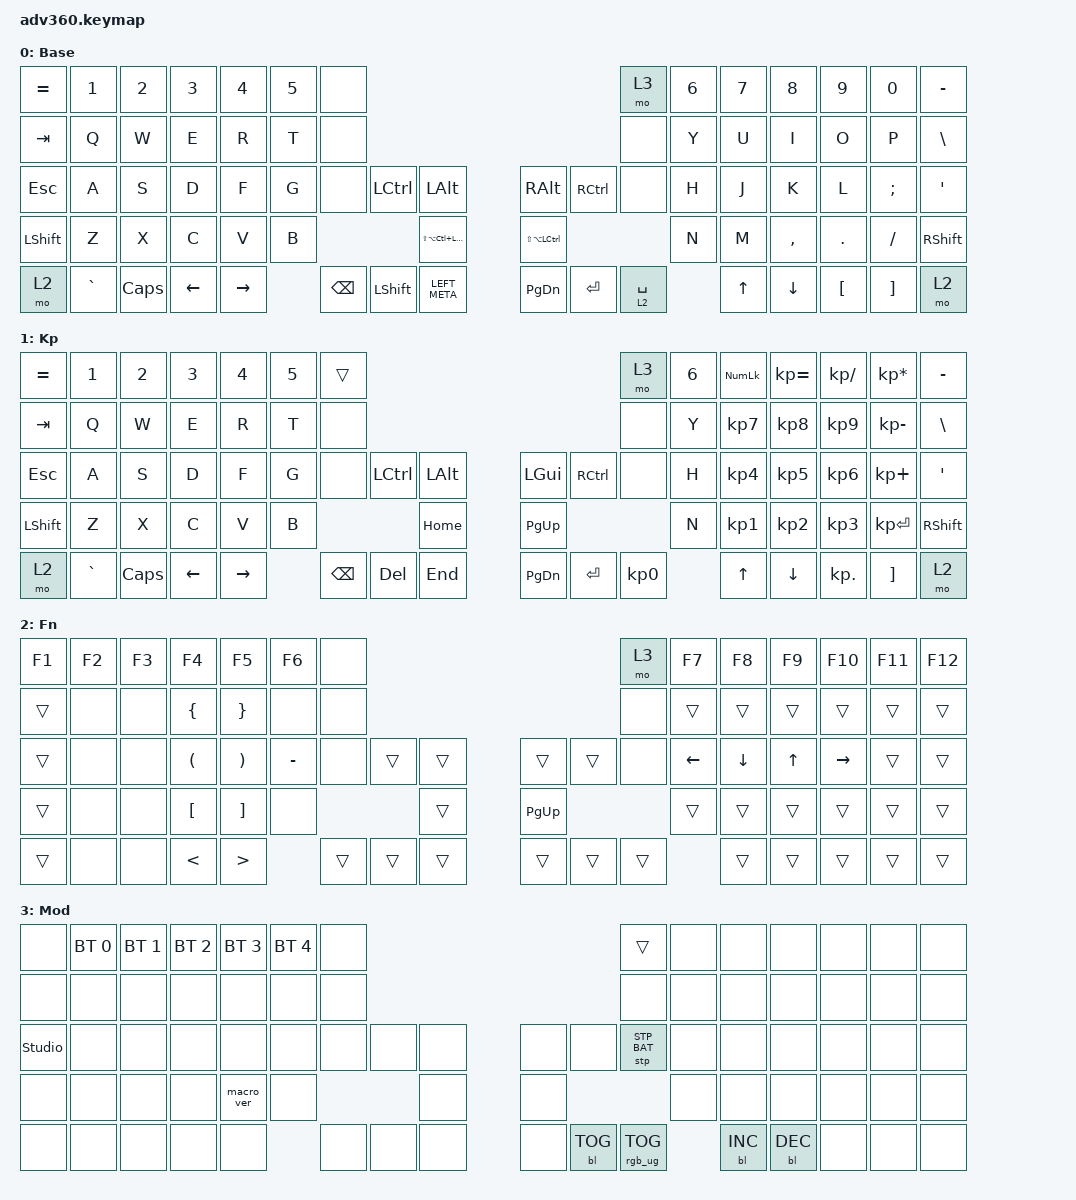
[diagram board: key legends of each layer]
/*
 * Copyright (c) 2020 The ZMK Contributors
 *
 * SPDX-License-Identifier: MIT
 */

#include <behaviors.dtsi>
#include <dt-bindings/zmk/keys.h>
#include <dt-bindings/zmk/bt.h>
#include <dt-bindings/zmk/rgb.h>
#include <dt-bindings/zmk/stp.h>
#include <dt-bindings/zmk/backlight.h>
#include <dt-bindings/zmk/pointing.h>

/ {
    behaviors {
      #include "macros.dtsi"
      #include "version.dtsi"

      hm: homerow_mods {
          compatible = "zmk,behavior-hold-tap";
          label = "HOMEROW_MODS";
          #binding-cells = <2>;
          tapping-term-ms = <200>;
          quick_tap_ms = <175>;
          flavor = "tap-preferred";
          bindings = <&kp>, <&kp>;
      };
    };

    keymap {
        compatible = "zmk,keymap";

        default_layer {
            display-name = "Base";
            bindings = <
&kp EQUAL  &kp N1     &kp N2    &kp N3    &kp N4     &kp N5  &none                                                                 &mo 3        &kp N6  &kp N7  &kp N8     &kp N9    &kp N0    &kp MINUS
&kp TAB    &kp Q      &kp W     &kp E     &kp R      &kp T   &none                                                                 &none        &kp Y   &kp U   &kp I      &kp O     &kp P     &kp BSLH
&kp ESC    &kp A      &kp S     &kp D     &kp F      &kp G   &none     &kp LCTRL   &kp LALT                  &kp RALT   &kp RCTRL  &none        &kp H   &kp J   &kp K      &kp L     &kp SEMI  &kp SQT
&kp LSHFT  &kp Z      &kp X     &kp C     &kp V      &kp B                         &kp LS(LA(LC(LGUI)))      &kp LS(LA(LCTRL))                  &kp N   &kp M   &kp COMMA  &kp DOT   &kp FSLH  &kp RSHFT
&mo 2      &kp GRAVE  &kp CAPS  &kp LEFT  &kp RIGHT          &kp BSPC  &kp LSHIFT  &kp LEFT_META             &kp PG_DN  &kp ENTER  &lt 2 SPACE          &kp UP  &kp DOWN   &kp LBKT  &kp RBKT  &mo 2
            >;
        };

        layer_keypad {
            display-name = "Kp";
            bindings = <
&kp EQUAL  &kp N1     &kp N2    &kp N3    &kp N4     &kp N5  &trans                                                   &mo 3      &kp N6  &kp KP_NUM  &kp KP_EQUAL  &kp KP_DIVIDE  &kp KP_MULTIPLY  &kp MINUS
&kp TAB    &kp Q      &kp W     &kp E     &kp R      &kp T   &none                                                    &none      &kp Y   &kp KP_N7   &kp KP_N8     &kp KP_N9      &kp KP_MINUS     &kp BSLH
&kp ESC    &kp A      &kp S     &kp D     &kp F      &kp G   &none     &kp LCTRL  &kp LALT      &kp LGUI   &kp RCTRL  &none      &kp H   &kp KP_N4   &kp KP_N5     &kp KP_N6      &kp KP_PLUS      &kp SQT
&kp LSHFT  &kp Z      &kp X     &kp C     &kp V      &kp B                        &kp HOME      &kp PG_UP                        &kp N   &kp KP_N1   &kp KP_N2     &kp KP_N3      &kp KP_ENTER     &kp RSHFT
&mo 2      &kp GRAVE  &kp CAPS  &kp LEFT  &kp RIGHT          &kp BSPC  &kp DEL    &kp END       &kp PG_DN  &kp ENTER  &kp KP_N0          &kp UP      &kp DOWN      &kp KP_DOT     &kp RBKT         &mo 2
            >;
        };

        layer_fn {
            display-name = "Fn";
            bindings = <
&kp F1  &kp F2  &kp F3  &kp F4         &kp F5            &kp F6     &none                                       &mo 3   &kp F7    &kp F8    &kp F9  &kp F10    &kp F11  &kp F12
&trans  &none   &none   &kp LBRC       &kp RBRC          &none      &none                                       &none   &trans    &trans    &trans  &trans     &trans   &trans
&trans  &none   &none   &kp LPAR       &kp RPAR          &kp MINUS  &none   &trans  &trans      &trans  &trans  &none   &kp LEFT  &kp DOWN  &kp UP  &kp RIGHT  &trans   &trans
&trans  &none   &none   &kp LBKT       &kp RBKT          &none                      &trans      &kp PG_UP                &trans    &trans    &trans  &trans     &trans   &trans
&trans  &none   &none   &kp LESS_THAN  &kp GREATER_THAN             &trans  &trans  &trans      &trans  &trans  &trans            &trans    &trans  &trans     &trans   &trans
            >;
        };

        layer_mod {
            display-name = "Mod";
            bindings = <
&none          &bt BT_SEL 0  &bt BT_SEL 1  &bt BT_SEL 2  &bt BT_SEL 3  &bt BT_SEL 4  &none                                                  &trans        &none  &none       &none       &none  &none  &none
&none          &none         &none         &none         &none         &none         &none                                                  &none         &none  &none       &none       &none  &none  &none
&studio_unlock &none         &none         &none         &none         &none         &none        &none  &none      &none       &none       &stp STP_BAT  &none  &none       &none       &none  &none  &none
&none          &none         &none         &none         &macro_ver    &none                             &none      &none                                 &none  &none       &none       &none  &none  &none
&none          &none         &none         &none         &none                       &none        &none  &none      &none       &bl BL_TOG  &rgb_ug RGB_TOG      &bl BL_INC  &bl BL_DEC  &none  &none  &none
            >;
        };

        extra1 {
            display-name = "Red";
            status = "reserved";
        };

        extra2 {
            display-name = "Purple";
            status = "reserved";
        };

        extra3 {
            display-name = "Cyan";
            status = "reserved";
        };

        extra4 {
            display-name = "Yellow";
            status = "reserved";
        };
    };
};
